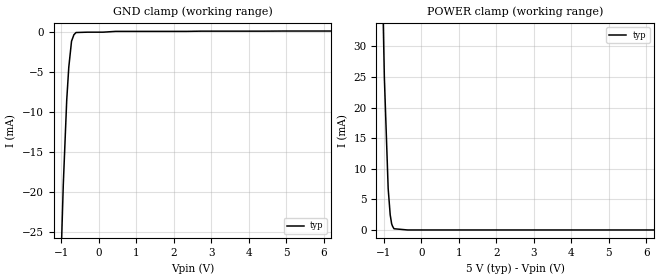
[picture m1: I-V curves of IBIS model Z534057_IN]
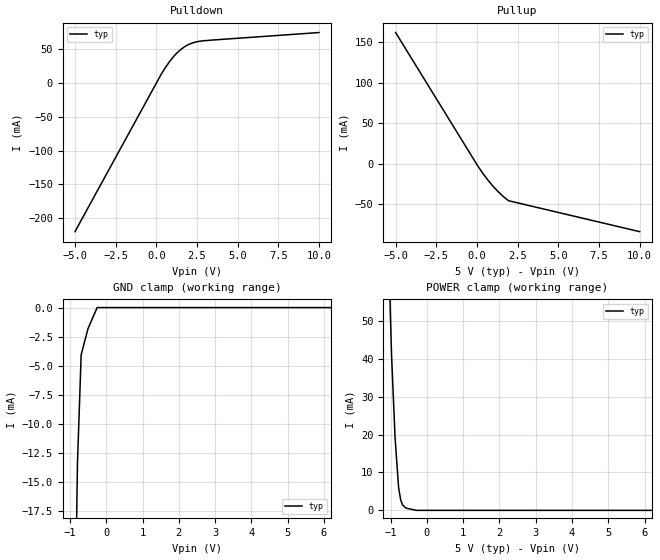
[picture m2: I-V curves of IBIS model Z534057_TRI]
| YOU ARE ONLY AUTHORIZED TO USE THIS SOFTWARE
| ACCORDING TO LICENSOR'S LICENSE RESTRICTIONS.
[IBIS Ver] 3.1
[File Name] sn54hct534j.ibs
[File Rev] 2.0
[Source] Measured and created by ICX Technology
[Date] Friday 7/14/00 9:08:12 AM
[Copyright]
| (C) COPYRIGHT 1993-2000
| MENTOR GRAPHICS CORPORATION
| ICX STANDARD LIBRARY, ICX PROJECT MODELING,
| ICX CUSTOM MODELING, ICX VENDOR MODEL
| ALL RIGHTS RESERVED.
| THE FOLLOWING ARE TRADEMARKS OR SERVICE MARKS OF
| MENTOR GRAPHICS CORPORATION:ICX (R), ICX STANDARD
| LIBRARY(R), ICX PROJECT MODELING(R), ICX CUSTOM
| MODELING(R), qualityIBIS(TM), MODELVIEWER(TM),
| AND MODELEDITOR(TM)
| ALL COPIES OF SOFTWARE, INCLUDING BUT NOT LIMITED TO
| ANY MODIFICATIONS, ENHANCEMENTS OR DERIVATIVE WORKS,
| MUST CONTAIN ALL MENTOR GRAPHICS CORPORATION'S
| NOTICES AND LEGENDS, INCLUDING THOSE EMBEDDED IN
| SOFTWARE AND THOSE AFFIXED TO SOFTWARE MEDIUM
| AND CONTAINER, AS RECEIVED FROM MENTOR GRAPHICS
| CORPORATION.
|  ZAP Model Builder 2.7
[Component] SN54HCT534J
[Manufacturer] OnSemiconductor
[Package]
| variable   typ   min   max
R_pkg  .216ohms NA NA
L_pkg  5.76nH NA NA
C_pkg  2.193pF NA NA
[Pin] signal_name  model_name  R_pin  L_pin C_pin
1 _OE Z534057_IN .232 9.76n 3.179p
2 _Q0 Z534057_TRI .224 7.26n 2.686p
3 D0 Z534057_IN .216 5.26n 2.193p
4 D1 Z534057_IN .208 3.76n 1.7p
5 _Q1 Z534057_TRI .2 2.76n 1.207p
6 _Q2 Z534057_TRI .2 2.76n 1.207p
7 D2 Z534057_IN .208 3.76n 1.7p
8 D3 Z534057_IN .216 5.26n 2.193p
9 _Q3 Z534057_TRI .224 7.26n 2.686p
10 GND GND .232 9.76n 3.179p
11 CLK Z534057_IN .232 9.76n 3.179p
12 _Q4 Z534057_TRI .224 7.26n 2.686p
13 D4 Z534057_IN .216 5.26n 2.193p
14 D5 Z534057_IN .208 3.76n 1.7p
15 _Q5 Z534057_TRI .2 2.76n 1.207p
16 _Q6 Z534057_TRI .2 2.76n 1.207p
17 D6 Z534057_IN .208 3.76n 1.7p
18 D7 Z534057_IN .216 5.26n 2.193p
19 _Q7 Z534057_TRI .224 7.26n 2.686p
20 VCC POWER .232 9.76n 3.179p
| Models and submodels in the file (2): Z534057_IN (Input), Z534057_TRI (3-state)
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| (C) COPYRIGHT 1993-2000
| MENTOR GRAPHICS CORPORATION
| ICX STANDARD LIBRARY, ICX PROJECT MODELING,
| ICX CUSTOM MODELING, ICX VENDOR MODEL
| ALL RIGHTS RESERVED.
| THE FOLLOWING ARE TRADEMARKS OR SERVICE MARKS OF
| MENTOR GRAPHICS CORPORATION:ICX (R), ICX STANDARD
| LIBRARY(R), ICX PROJECT MODELING(R), ICX CUSTOM
| MODELING(R), qualityIBIS(TM), MODELVIEWER(TM),
| AND MODELEDITOR(TM)
| ALL COPIES OF SOFTWARE, INCLUDING BUT NOT LIMITED TO
| ANY MODIFICATIONS, ENHANCEMENTS OR DERIVATIVE WORKS,
| MUST CONTAIN ALL MENTOR GRAPHICS CORPORATION'S
| NOTICES AND LEGENDS, INCLUDING THOSE EMBEDDED IN
| SOFTWARE AND THOSE AFFIXED TO SOFTWARE MEDIUM
| AND CONTAINER, AS RECEIVED FROM MENTOR GRAPHICS
| CORPORATION.
| Model Application Version 1.89 2/18/99.
[Model] Z534057_IN
Model_type Input
Vinl = 800.0mV
Vinh = 2.000V
C_comp 4.000pF NA NA
| variable typ   min   max
[Voltage Range] 5.000V NA NA
[GND Clamp Reference] 0.000V NA NA
[POWER Clamp Reference] 5.000V NA NA
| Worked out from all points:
|   GND clamp passes 1 mA (typ) near -0.72 V on its own axis
|   POWER clamp passes 1 mA (typ) near -0.79 V on its own axis
[GND Clamp]
-5V       -949.8mA   NA         NA
-1.015V   -29.55mA   NA         NA
-947.3mV  -19.05mA   NA         NA
-856.3mV  -8.516mA   NA         NA
-801.3mV  -4.376mA   NA         NA
-727.7mV  -1.099mA   NA         NA
-664.1mV  -289.7uA   NA         NA
-607.3mV  -10.42uA   NA         NA
449.2mV   131.3uA    NA         NA
10V       175uA      NA         NA
[POWER Clamp]
-5V       1.552A     NA         NA
-1.089V   56.49mA    NA         NA
-986mV    25.01mA    NA         NA
-884mV    6.765mA    NA         NA
-830mV    2.476mA    NA         NA
-791mV    999uA      NA         NA
-767mV    612.9uA    NA         NA
-729mV    200.7uA    NA         NA
-364.5mV  0A         NA         NA
10V       0A         NA         NA
| (C) COPYRIGHT 1993-2000
| MENTOR GRAPHICS CORPORATION
| ICX STANDARD LIBRARY, ICX PROJECT MODELING,
| ICX CUSTOM MODELING, ICX VENDOR MODEL
| ALL RIGHTS RESERVED.
| THE FOLLOWING ARE TRADEMARKS OR SERVICE MARKS OF
| MENTOR GRAPHICS CORPORATION:ICX (R), ICX STANDARD
| LIBRARY(R), ICX PROJECT MODELING(R), ICX CUSTOM
| MODELING(R), qualityIBIS(TM), MODELVIEWER(TM),
| AND MODELEDITOR(TM)
| ALL COPIES OF SOFTWARE, INCLUDING BUT NOT LIMITED TO
| ANY MODIFICATIONS, ENHANCEMENTS OR DERIVATIVE WORKS,
| MUST CONTAIN ALL MENTOR GRAPHICS CORPORATION'S
| NOTICES AND LEGENDS, INCLUDING THOSE EMBEDDED IN
| SOFTWARE AND THOSE AFFIXED TO SOFTWARE MEDIUM
| AND CONTAINER, AS RECEIVED FROM MENTOR GRAPHICS
| CORPORATION.
| Model Application Version 1.89 2/18/99.
[Model] Z534057_TRI
Model_type 3-state
Vref=0.000V
Rref=500.0Mohms
Cref=50.00pF
Vmeas=1.300V
C_comp 8.000pF NA NA
| variable typ   min   max
[Voltage Range] 5.000V NA NA
[POWER Clamp Reference] 5.000V NA NA
[Pullup Reference] 5.000V NA NA
[Pulldown Reference] 0.000V NA NA
[GND Clamp Reference] 0.000V NA NA
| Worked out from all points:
|   slope of the pulldown table from 0 to 0.75 V, typ, clamps not added: 25.3 ohm
|   slope of the pullup table from 0 to 0.75 V, typ, clamps not added: 35.8 ohm
|   POWER clamp passes 1 mA (typ) near -0.62 V on its own axis
[GND Clamp]
-5V       -896.2mA   NA         NA
-795.4mV  -13.4mA    NA         NA
-693.3mV  -4.054mA   NA         NA
-503.7mV  -1.801mA   NA         NA
-251.9mV  0A         NA         NA
10V       0A         NA         NA
[Pulldown]
-5V       -219.9mA   NA         NA
293mV     12.78mA    NA         NA
830.2mV   32.37mA    NA         NA
1.102V    40.39mA    NA         NA
1.509V    49.85mA    NA         NA
2.08V     58.1mA     NA         NA
2.911V    62.74mA    NA         NA
10V       74.81mA    NA         NA
[Pullup]
-5V       162mA      NA         NA
40mV      -2.342mA   NA         NA
371mV     -12.12mA   NA         NA
659mV     -19.74mA   NA         NA
955mV     -26.98mA   NA         NA
1.344V    -35.28mA   NA         NA
1.655V    -41.04mA   NA         NA
1.934V    -45.58mA   NA         NA
10V       -83.79mA   NA         NA
[POWER Clamp]
-5V       1.387A     NA         NA
-976mV    41.13mA    NA         NA
-879mV    19.26mA    NA         NA
-781mV    6mA        NA         NA
-723mV    2.721mA    NA         NA
-668mV    1.365mA    NA         NA
-576mV    584.6uA    NA         NA
-288mV    0A         NA         NA
10V       0A         NA         NA
[Ramp]
| variable typ min max
dV/dt_r 2.831/1.548n NA NA
dV/dt_f 2.831/1.229n NA NA
R_load = 500.0Ohms
